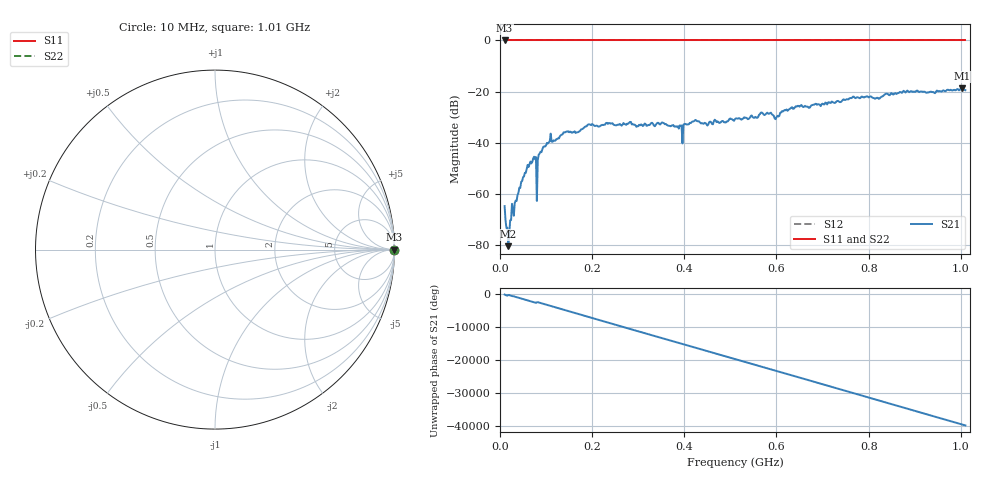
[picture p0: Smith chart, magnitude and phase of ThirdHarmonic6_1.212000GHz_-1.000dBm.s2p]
! 8/16/2025 12:38:46 PM
! C:\ANRITSUVNA\TEMP\TEMP.S2P
! CHANNEL.1
! TR.MEASUREMENT
! RAW.DATA
! RF.CORRECTION.OFF
! AVERAGING.OFF
! IF.BANDWIDTH: 5KHZ
! SWEEPTYPE:  FREQ.SWEEP(Linear)
! Reference Plane Port Info
! PORT:  PORT1  PORT2
! DISTANCE:  0  m  0  m
! TIME:  0  s  0  s
! PHASE.OFFSET:  0  deg.  0  deg.
! LOSS:  0  dB  0  dB
! REF.LOSS:  0  dB  0  dB
! REF.FREQ:  0  Hz  0  Hz
! Power Info
! POWER:  -20  dBm  -20  dBm
! EFF.POWER:  -20  dBm  -20  dBm
! SOURCE.ATTEN:  0  dB  0  dB
! TEST.ATTEN:  0  dB  0  dB
# GHZ S RI R 50.0
! FREQ.GHZ  S11RE  S11IM  S21RE  S21IM  S12RE  S12IM  S22RE  S22IM
!; PortSelection: Port_12
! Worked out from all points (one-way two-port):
!   501 points, 10 MHz to 1.01 GHz, reference 50 ohm
!   highest |S21| = -18.71 dB at 1.002 GHz (marker M1); lowest = -80.4 dB at 18 MHz (marker M2)
!   lowest |S11| = 0.0 dB at 10 MHz (marker M3)
!   |S11| at or under -10 dB: nowhere
!   |S22| runs from 0.0 to 0.0 dB; largest |S21 - S12| = 1.1
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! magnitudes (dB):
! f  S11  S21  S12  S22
! 10 MHz  0.0  -64.7  0.0  0.0
! 16 MHz  0.0  -73.1  0.0  0.0
! 18 MHz  0.0  -80.4  0.0  0.0
! 30 MHz  0.0  -68.5  0.0  0.0
! 62 MHz  0.0  -49.4  0.0  0.0
! 74 MHz  0.0  -45.4  0.0  0.0
! 76 MHz  0.0  -46.4  0.0  0.0
! 84 MHz  0.0  -44.6  0.0  0.0
! 88 MHz  0.0  -43.4  0.0  0.0
! 106 MHz  0.0  -39.8  0.0  0.0
! 178 MHz  0.0  -34.6  0.0  0.0
! 344 MHz  0.0  -32.2  0.0  0.0
! 392 MHz  0.0  -33.3  0.0  0.0
! 422 MHz  0.0  -31.4  0.0  0.0
! 510 MHz  0.0  -30.7  0.0  0.0
! 568 MHz  0.0  -28.2  0.0  0.0
! 600 MHz  0.0  -30.0  0.0  0.0
! 630 MHz  0.0  -26.6  0.0  0.0
! 678 MHz  0.0  -25.2  0.0  0.0
! 844 MHz  0.0  -21.3  0.0  0.0
! 1.002 GHz  0.0  -18.7  0.0  0.0
! 1.01 GHz  0.0  -19.4  0.0  0.0
